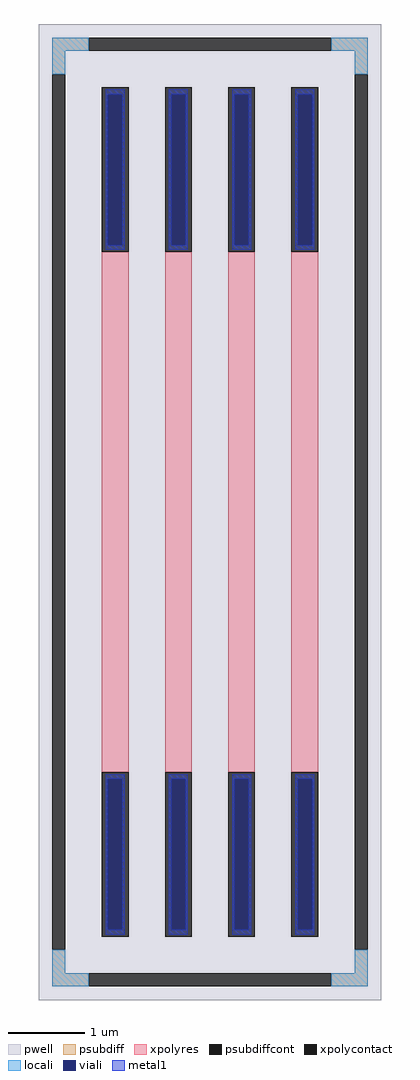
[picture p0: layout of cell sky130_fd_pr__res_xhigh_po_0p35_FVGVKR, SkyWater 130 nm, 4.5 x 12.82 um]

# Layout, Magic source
magic
tech sky130A
magscale 1 2
<< pwell >>
rect -450 -1282 450 1282
<< psubdiff >>
rect -414 1212 -318 1246
rect 318 1212 414 1246
rect -414 1150 -380 1212
rect 380 1150 414 1212
rect -414 -1212 -380 -1150
rect 380 -1212 414 -1150
rect -414 -1246 -318 -1212
rect 318 -1246 414 -1212
<< psubdiffcont >>
rect -318 1212 318 1246
rect -414 -1150 -380 1150
rect 380 -1150 414 1150
rect -318 -1246 318 -1212
<< xpolycontact >>
rect -284 684 -214 1116
rect -284 -1116 -214 -684
rect -118 684 -48 1116
rect -118 -1116 -48 -684
rect 48 684 118 1116
rect 48 -1116 118 -684
rect 214 684 284 1116
rect 214 -1116 284 -684
<< xpolyres >>
rect -284 -684 -214 684
rect -118 -684 -48 684
rect 48 -684 118 684
rect 214 -684 284 684
<< locali >>
rect -414 1212 -318 1246
rect 318 1212 414 1246
rect -414 1150 -380 1212
rect 380 1150 414 1212
rect -414 -1212 -380 -1150
rect 380 -1212 414 -1150
rect -414 -1246 -318 -1212
rect 318 -1246 414 -1212
<< viali >>
rect -268 701 -230 1098
rect -102 701 -64 1098
rect 64 701 102 1098
rect 230 701 268 1098
rect -268 -1098 -230 -701
rect -102 -1098 -64 -701
rect 64 -1098 102 -701
rect 230 -1098 268 -701
<< metal1 >>
rect -274 1098 -224 1110
rect -274 701 -268 1098
rect -230 701 -224 1098
rect -274 689 -224 701
rect -108 1098 -58 1110
rect -108 701 -102 1098
rect -64 701 -58 1098
rect -108 689 -58 701
rect 58 1098 108 1110
rect 58 701 64 1098
rect 102 701 108 1098
rect 58 689 108 701
rect 224 1098 274 1110
rect 224 701 230 1098
rect 268 701 274 1098
rect 224 689 274 701
rect -274 -701 -224 -689
rect -274 -1098 -268 -701
rect -230 -1098 -224 -701
rect -274 -1110 -224 -1098
rect -108 -701 -58 -689
rect -108 -1098 -102 -701
rect -64 -1098 -58 -701
rect -108 -1110 -58 -1098
rect 58 -701 108 -689
rect 58 -1098 64 -701
rect 102 -1098 108 -701
rect 58 -1110 108 -1098
rect 224 -701 274 -689
rect 224 -1098 230 -701
rect 268 -1098 274 -701
rect 224 -1110 274 -1098
<< properties >>
string FIXED_BBOX -397 -1229 397 1229
string gencell sky130_fd_pr__res_xhigh_po_0p35
string library sky130
string parameters w 0.350 l 7.0 m 1 nx 4 wmin 0.350 lmin 0.50 rho 2000 val 41.075k dummy 0 dw 0.0 term 188.2 sterm 0.0 caplen 0 wmax 0.350 guard 1 glc 1 grc 1 gtc 1 gbc 1 compatible {sky130_fd_pr__res_xhigh_po_0p35  sky130_fd_pr__res_xhigh_po_0p69 sky130_fd_pr__res_xhigh_po_1p41  sky130_fd_pr__res_xhigh_po_2p85 sky130_fd_pr__res_xhigh_po_5p73} snake 0 full_metal 1 n_guard 0 hv_guard 0 vias 1 viagb 0 viagt 0 viagl 0 viagr 0
<< end >>
